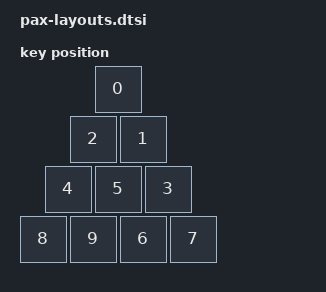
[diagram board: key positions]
#include <physical_layouts.dtsi>

/ {
    physical_layout_pax: physical_layout_pax {
        compatible = "zmk,physical-layout";
        display-name = "pax";
        keys  //                     w   h    x    y     rot    rx    ry
            = <&key_physical_attrs 100 100  150    0       0   150     0>
            , <&key_physical_attrs 100 100  200  100       0   200   100>
            , <&key_physical_attrs 100 100  100  100       0   100   100>
            , <&key_physical_attrs 100 100  250  200       0   250   200>
            , <&key_physical_attrs 100 100   50  200       0    50   200>
            , <&key_physical_attrs 100 100  150  200       0   150   200>
            , <&key_physical_attrs 100 100  200  300       0   200   300>
            , <&key_physical_attrs 100 100  300  300       0   300   300>
            , <&key_physical_attrs 100 100    0  300       0     0   300>
            , <&key_physical_attrs 100 100  100  300       0   100   300>
            ;
    };
};
